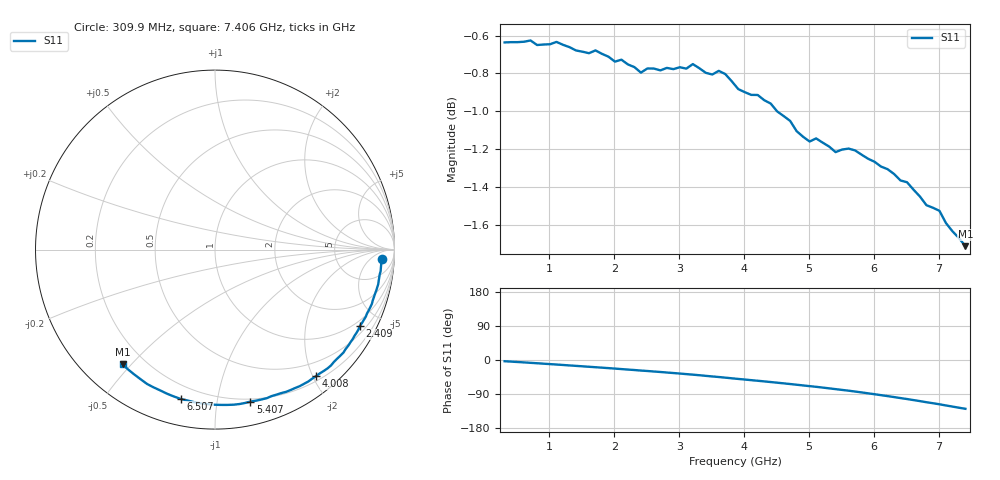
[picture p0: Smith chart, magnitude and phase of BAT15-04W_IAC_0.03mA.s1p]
! Infineon Technologies  Discrete & RF Semiconductors
! BAT15-04W-E6327
! IAC = 0.03 mA
! One-Port S-Parameters
# Hz  S  MA  R  50
!f  S11
!Hz  Mag  Ang
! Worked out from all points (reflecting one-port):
!   72 points, 309.9 MHz to 7.406 GHz, reference 50 ohm
!   lowest |S11| = -1.7 dB at 7.406 GHz (marker M1), VSWR 10.17, Z = 6.03 - j23.7 ohm
!   phase of S11 starts at -3 deg and turns -126 deg over the sweep
!   S11 on the Smith chart (normalised r, x): 309.9 MHz: 17, -13; 2.409 GHz: 0.76, -3.89; 4.008 GHz: 0.27, -2.04; 5.407 GHz: 0.18, -1.24; 6.507 GHz: 0.13, -0.79; 7.406 GHz: 0.12, -0.47
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3.0985e8  0.9294 -3.2
7.0965e8  0.9305 -7.5
1.2094e9  0.9281 -13.1
1.70915e9  0.9249 -19.0
2.10895e9  0.9197 -23.9
2.4088e9  0.9125 -27.9
2.50875e9  0.9148 -29.0
3.0085e9  0.9155 -35.7
3.2084e9  0.9172 -38.7
3.50825e9  0.9114 -43.4
3.6082e9  0.9134 -44.9
3.90805e9  0.9033 -49.9
4.008e9  0.9017 -51.6
4.2079e9  0.9001 -54.8
4.4078e9  0.8954 -58.2
4.8076e9  0.8805 -65.3
5.10745e9  0.8766 -70.8
5.4073e9  0.8693 -76.9
5.6072e9  0.8712 -81.0
5.70715e9  0.8702 -83.2
6.007e9  0.8642 -90.3
6.2069e9  0.8603 -95.3
6.50675e9  0.8535 -103.0
6.6067e9  0.8497 -105.8
6.8066e9  0.8416 -111.4
7.0065e9  0.8388 -116.8
7.2064e9  0.8284 -122.9
7.4063e9  0.8209 -128.8
